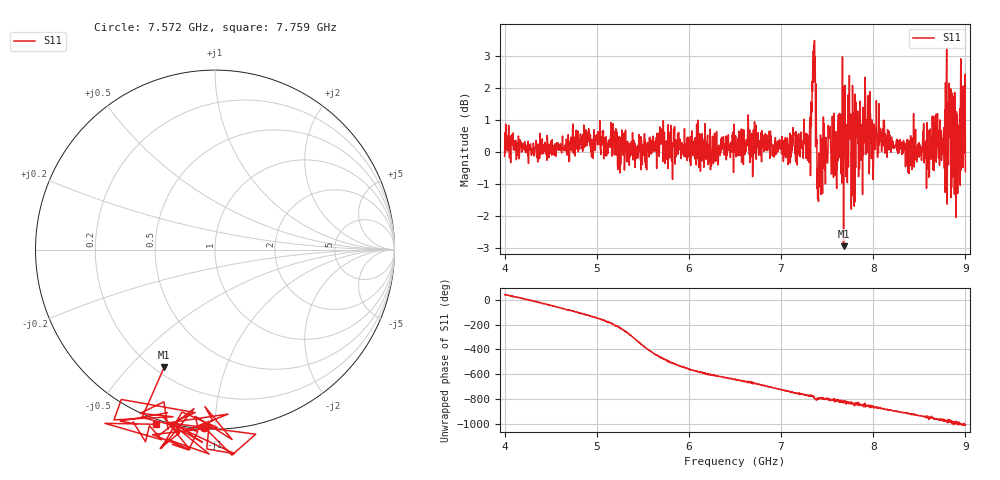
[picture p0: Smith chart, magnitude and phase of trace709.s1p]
! Created with skrf 1.8.0 (http://scikit-rf.org).
# Hz S RI R 50.0
!freq ReS11 ImS11
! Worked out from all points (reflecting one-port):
!   1601 points, 4 GHz to 9 GHz, reference 50 ohm
!   lowest |S11| = -3.0 dB at 7.678 GHz (marker M1), VSWR 5.94, Z = 11.9 - j31.5 ohm
!   phase of S11 starts at 41 deg and turns -1052 deg over the sweep
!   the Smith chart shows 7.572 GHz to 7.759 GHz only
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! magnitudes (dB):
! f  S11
! 4 GHz  -0.1
! 4.625 GHz  0.2
! 5.197 GHz  0.0
! 5.25 GHz  -0.7
! 5.875 GHz  0.0
! 6.5 GHz  0.1
! 7.125 GHz  0.3
! 7.297 GHz  0.5
! 7.356 GHz  3.3
! 7.4 GHz  -0.6
! 7.412 GHz  -0.2
! 7.509 GHz  0.0
! 7.591 GHz  0.4
! 7.647 GHz  0.7
! 7.678 GHz  -3.0
! 7.75 GHz  0.4
! 7.784 GHz  0.5
! 7.8 GHz  -1.6
! 7.875 GHz  -0.2
! 7.928 GHz  1.0
! 7.981 GHz  -0.2
! 8.375 GHz  -0.1
! 8.678 GHz  0.8
! 8.766 GHz  0.8
! 8.816 GHz  -0.4
! 8.875 GHz  0.9
! 8.972 GHz  0.6
! 9 GHz  -0.6
